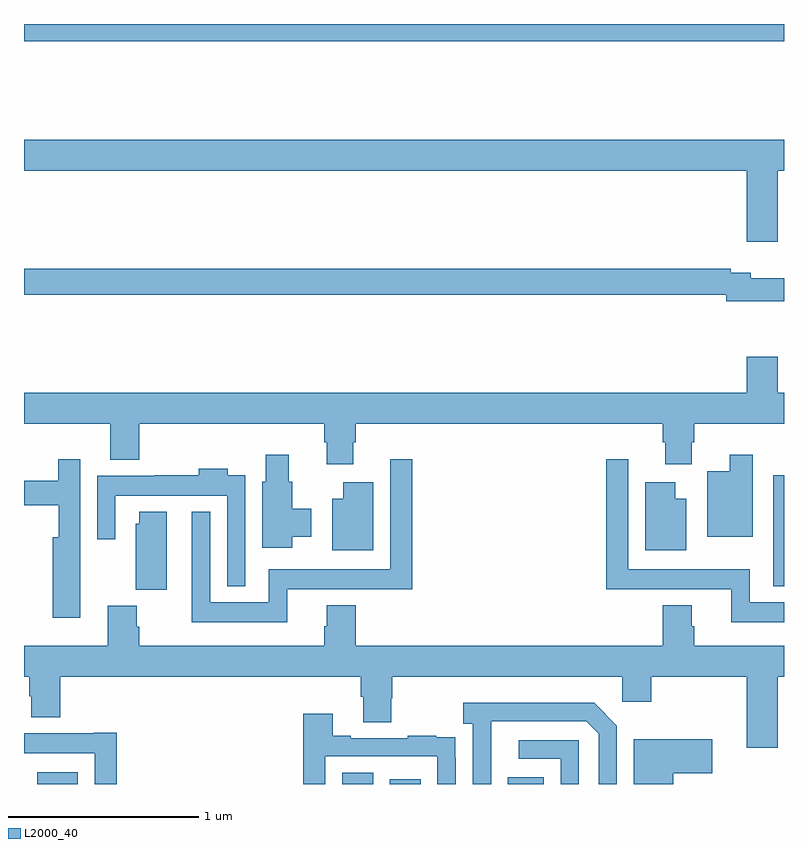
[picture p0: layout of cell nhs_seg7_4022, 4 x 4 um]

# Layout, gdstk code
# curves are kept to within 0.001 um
import gdstk
lib = gdstk.Library(unit=1e-6, precision=1e-09)
def R(c, l, rs):  # rectangles x0, y0, x1, y1
    for r in rs: c.add(gdstk.rectangle(r[:2], r[2:], *l))
def P(c, l, *ps):  # polygons
    for p in ps: c.add(gdstk.Polygon(p, *l))
L2000_40 = (2000, 40)

nhs_seg7_4022 = lib.new_cell('nhs_seg7_4022')
R(nhs_seg7_4022, L2000_40, [(365.069,1052,365.284,1052.062), (366.674,1052,366.838,1052.06), (366.926,1052,367.087,1052.026), (367.547,1052,367.735,1052.035), (368.943,1053.041,369,1053.625), (365,1055.908,369,1056)])
P(nhs_seg7_4022, L2000_40, [(368.968,1055.228),(369,1055.228),(369,1055.392),(365,1055.392),(365,1055.228),(368.804,1055.228),(368.804,1054.854),(368.968,1054.854)],
  [(369,1054.663),(368.824,1054.663),(368.824,1054.692),(368.72,1054.692),(368.72,1054.712),(365,1054.712),(365,1054.576),(368.696,1054.576),(368.696,1054.541),(369,1054.541)],
  [(366.733,1053.798),(366.746,1053.798),(366.746,1053.896),(368.363,1053.896),(368.363,1053.798),(368.375,1053.798),(368.375,1053.684),(368.515,1053.684),(368.515,1053.798),(368.528,1053.798),(368.528,1053.896),(369,1053.896),(369,1054.06),(368.968,1054.06),(368.968,1054.249),(368.804,1054.249),(368.804,1054.06),(365,1054.06),(365,1053.896),(365.453,1053.896),(365.453,1053.707),(365.606,1053.707),(365.606,1053.896),(366.581,1053.896),(366.581,1053.798),(366.593,1053.798),(366.593,1053.684),(366.733,1053.684)],
  [(368.836,1053.733),(368.714,1053.733),(368.714,1053.646),(368.597,1053.646),(368.597,1053.302),(368.836,1053.302)],
  [(366.412,1053.302),(366.511,1053.302),(366.511,1053.45),(366.412,1053.45),(366.412,1053.591),(366.394,1053.591),(366.394,1053.733),(366.272,1053.733),(366.272,1053.591),(366.254,1053.591),(366.254,1053.243),(366.412,1053.243)],
  [(365.296,1053.194),(365.295,1053.194),(365.295,1053.709),(365.179,1053.709),(365.179,1053.595),(365,1053.595),(365,1053.466),(365.183,1053.466),(365.183,1053.298),(365.15,1053.298),(365.15,1052.874),(365.296,1052.874)],
  [(366.386,1053.026),(366.92,1053.026),(366.92,1053.024),(367.043,1053.024),(367.043,1053.709),(366.927,1053.709),(366.927,1053.13),(366.288,1053.13),(366.288,1052.956),(365.979,1052.956),(365.979,1053.433),(365.882,1053.433),(365.882,1052.852),(366.386,1052.852)],
  [(369,1052.956),(368.82,1052.956),(368.82,1053.13),(368.181,1053.13),(368.181,1053.709),(368.065,1053.709),(368.065,1053.024),(368.188,1053.024),(368.188,1053.026),(368.723,1053.026),(368.723,1052.852),(369,1052.852)],
  [(366.165,1053.625),(366.073,1053.625),(366.073,1053.658),(365.921,1053.658),(365.921,1053.625),(365.689,1053.625),(365.689,1053.622),(365.385,1053.622),(365.385,1053.288),(365.481,1053.288),(365.481,1053.518),(366.069,1053.518),(366.069,1053.041),(366.165,1053.041)],
  [(368.485,1053.502),(368.428,1053.502),(368.428,1053.589),(368.27,1053.589),(368.27,1053.23),(368.485,1053.23)],
  [(366.838,1053.589),(366.68,1053.589),(366.68,1053.502),(366.623,1053.502),(366.623,1053.23),(366.838,1053.23)],
  [(365.752,1053.433),(365.606,1053.433),(365.606,1053.369),(365.588,1053.369),(365.588,1053.022),(365.752,1053.022)],
  [(368.968,1052.564),(369,1052.564),(369,1052.728),(368.528,1052.728),(368.528,1052.829),(368.515,1052.829),(368.515,1052.941),(368.363,1052.941),(368.363,1052.728),(366.746,1052.728),(366.746,1052.941),(366.593,1052.941),(366.593,1052.829),(366.581,1052.829),(366.581,1052.728),(365.606,1052.728),(365.606,1052.828),(365.593,1052.828),(365.593,1052.937),(365.441,1052.937),(365.441,1052.728),(365,1052.728),(365,1052.564),(365.027,1052.564),(365.027,1052.463),(365.039,1052.463),(365.039,1052.351),(365.192,1052.351),(365.192,1052.564),(366.773,1052.564),(366.773,1052.458),(366.785,1052.458),(366.785,1052.326),(366.933,1052.326),(366.933,1052.451),(366.938,1052.451),(366.938,1052.564),(368.148,1052.564),(368.148,1052.433),(368.3,1052.433),(368.3,1052.564),(368.804,1052.564),(368.804,1052.19),(368.968,1052.19)],
  [(367.458,1052.131),(367.459,1052.331),(367.959,1052.331),(368.025,1052.265),(368.025,1052),(368.121,1052),(368.121,1052.307),(368,1052.428),(367.311,1052.428),(367.311,1052.318),(367.362,1052.318),(367.362,1052),(367.458,1052)],
  [(366.585,1052.145),(367.176,1052.145),(367.176,1052),(367.272,1052),(367.272,1052.138),(367.271,1052.138),(367.271,1052.247),(367.169,1052.247),(367.169,1052.254),(367.021,1052.254),(367.021,1052.241),(366.721,1052.241),(366.721,1052.254),(366.625,1052.254),(366.625,1052.371),(366.469,1052.371),(366.469,1052),(366.585,1052)],
  [(365.489,1052.269),(365.366,1052.269),(365.366,1052.266),(365,1052.266),(365,1052.162),(365.373,1052.162),(365.373,1052),(365.489,1052)],
  [(368.417,1052.057),(368.623,1052.057),(368.623,1052.235),(368.21,1052.235),(368.21,1052),(368.417,1052)],
  [(367.92,1052.229),(367.605,1052.229),(367.605,1052.133),(367.824,1052.133),(367.824,1052),(367.92,1052)])

lib.write_gds('nhs_seg7_4022.gds')
